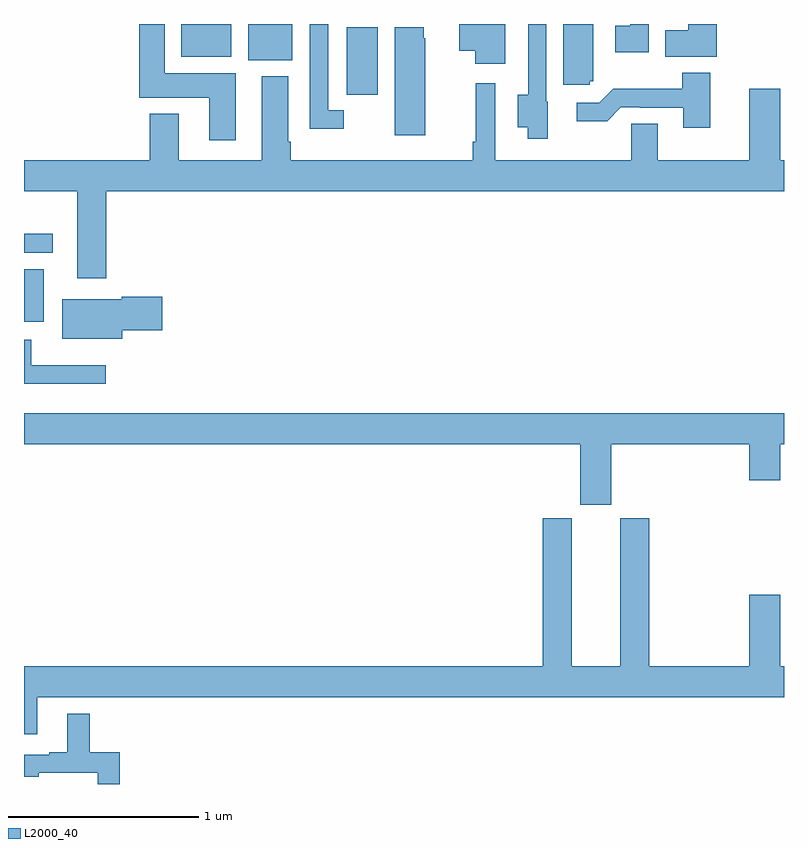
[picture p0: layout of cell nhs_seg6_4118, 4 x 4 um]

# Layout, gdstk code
import gdstk
lib = gdstk.Library(unit=1e-6, precision=1e-09)
def R(c, l, rs):  # rectangles x0, y0, x1, y1
    for r in rs: c.add(gdstk.rectangle(r[:2], r[2:], *l))
def P(c, l, *ps):  # polygons
    for p in ps: c.add(gdstk.Polygon(p, *l))
L2000_40 = (2000, 40)

nhs_seg6_4118 = lib.new_cell('nhs_seg6_4118')
R(nhs_seg6_4118, L2000_40, [(353,995.933,353.104,996.208), (353,996.297,353.152,996.396), (354.698,997.128,354.862,997.484), (354.179,997.31,354.412,997.5), (353.828,997.328,354.091,997.5)])
P(nhs_seg6_4118, L2000_40, [(355.534,997.5),(355.292,997.5),(355.292,997.358),(355.376,997.358),(355.376,997.29),(355.534,997.29)],
  [(354.115,997.24),(353.74,997.24),(353.74,997.5),(353.606,997.5),(353.606,997.112),(353.975,997.112),(353.975,996.888),(354.115,996.888)],
  [(354.682,997.047),(354.6,997.047),(354.6,997.5),(354.504,997.5),(354.504,996.95),(354.682,996.95)],
  [(355.977,997.2),(355.996,997.2),(355.996,997.5),(355.838,997.5),(355.838,997.179),(355.977,997.179)],
  [(356.645,997.5),(356.495,997.5),(356.495,997.466),(356.374,997.466),(356.374,997.328),(356.645,997.328)],
  [(355.756,997.092),(355.749,997.092),(355.749,997.5),(355.653,997.5),(355.653,997.127),(355.598,997.127),(355.598,996.956),(355.652,996.956),(355.652,996.896),(355.756,996.896)],
  [(356.289,997.5),(356.192,997.5),(356.192,997.492),(356.112,997.492),(356.112,997.352),(356.289,997.352)],
  [(355.111,997.425),(355.105,997.425),(355.105,997.484),(354.95,997.484),(354.95,996.915),(355.111,996.915)],
  [(356.611,997.243),(356.464,997.243),(356.464,997.159),(356.101,997.159),(356.028,997.086),(355.908,997.086),(355.908,996.989),(356.069,996.989),(356.142,997.062),(356.242,997.062),(356.242,997.059),(356.471,997.059),(356.471,996.954),(356.611,996.954)],
  [(357,996.784),(356.98,996.784),(356.98,997.159),(356.816,997.159),(356.816,996.784),(356.335,996.784),(356.335,996.974),(356.196,996.974),(356.196,996.784),(355.479,996.784),(355.479,997.189),(355.378,997.189),(355.378,996.88),(355.363,996.88),(355.363,996.784),(354.404,996.784),(354.404,996.88),(354.391,996.88),(354.391,997.225),(354.251,997.225),(354.251,996.784),(353.815,996.784),(353.815,997.027),(353.663,997.027),(353.663,996.784),(353,996.784),(353,996.62),(353.279,996.62),(353.279,996.162),(353.432,996.162),(353.432,996.62),(357,996.62)],
  [(353.518,995.887),(353.728,995.887),(353.728,996.065),(353.515,996.065),(353.515,996.052),(353.201,996.052),(353.201,995.843),(353.518,995.843)],
  [(353.431,995.704),(353.038,995.704),(353.038,995.838),(353,995.838),(353,995.606),(353.431,995.606)],
  [(356.092,995.288),(356.816,995.288),(356.816,995.1),(356.98,995.1),(356.98,995.288),(357,995.288),(357,995.452),(353,995.452),(353,995.288),(355.928,995.288),(355.928,994.971),(356.092,994.971)],
  [(353.071,993.956),(357,993.956),(357,994.12),(356.98,994.12),(356.98,994.495),(356.816,994.495),(356.816,994.12),(356.291,994.12),(356.291,994.899),(356.138,994.899),(356.138,994.12),(355.882,994.12),(355.882,994.899),(355.73,994.899),(355.73,994.12),(353,994.12),(353,993.762),(353.071,993.762)],
  [(353.504,993.667),(353.345,993.667),(353.345,993.871),(353.228,993.871),(353.228,993.667),(353.132,993.667),(353.132,993.654),(353,993.654),(353,993.538),(353.077,993.538),(353.077,993.558),(353.388,993.558),(353.388,993.5),(353.504,993.5)])

lib.write_gds('nhs_seg6_4118.gds')
